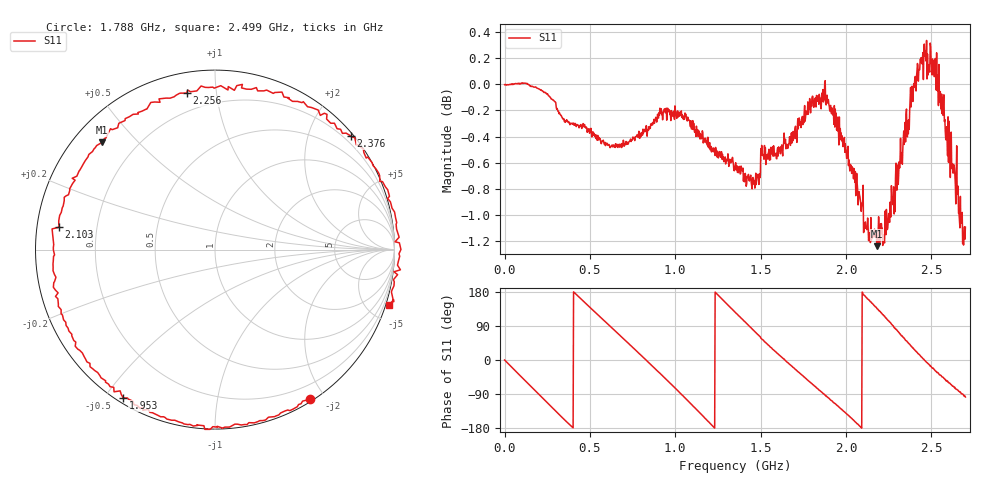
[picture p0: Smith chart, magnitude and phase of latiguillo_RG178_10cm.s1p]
! latiguillo_RG178_10cm (extremo al aire)
! 2026-10-25T22:32:26
# HZ S RI R 50
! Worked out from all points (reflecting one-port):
!   1010 points, 50 kHz to 2.7 GHz, reference 50 ohm
!   lowest |S11| = -1.2 dB at 2.181 GHz (marker M1), VSWR 14.08, Z = 4.12 + j19.9 ohm
!   phase of S11 starts at -0 deg and turns -1178 deg over the sweep
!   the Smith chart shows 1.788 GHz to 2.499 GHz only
!   S11 on the Smith chart (normalised r, x): 1.788 GHz: 0.03, -1.82; 1.953 GHz: 0.02, -0.56; 2.103 GHz: 0.07, +0.07; 2.256 GHz: 0.10, +0.83; 2.376 GHz: 0.06, +2.75; 2.499 GHz: -0.41, -6.46
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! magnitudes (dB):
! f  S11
! 50 kHz  0.0
! 208.8 MHz  0.0
! 339.9 MHz  -0.3
! 677 MHz  -0.5
! 909.8 MHz  -0.2
! 1.014 GHz  -0.2
! 1.351 GHz  -0.6
! 1.461 GHz  -0.8
! 1.485 GHz  -0.7
! 1.515 GHz  -0.5
! 1.689 GHz  -0.4
! 1.788 GHz  -0.1
! 1.876 GHz  0.0
! 1.953 GHz  -0.3
! 2.026 GHz  -0.6
! 2.103 GHz  -1.1
! 2.146 GHz  -1.0
! 2.181 GHz  -1.2
! 2.213 GHz  -1.1
! 2.256 GHz  -1.1
! 2.363 GHz  -0.3
! 2.376 GHz  -0.1
! 2.448 GHz  0.2
! 2.499 GHz  0.2
! 2.534 GHz  0.0
! 2.644 GHz  -0.9
! 2.676 GHz  -1.0
! 2.7 GHz  -1.1
